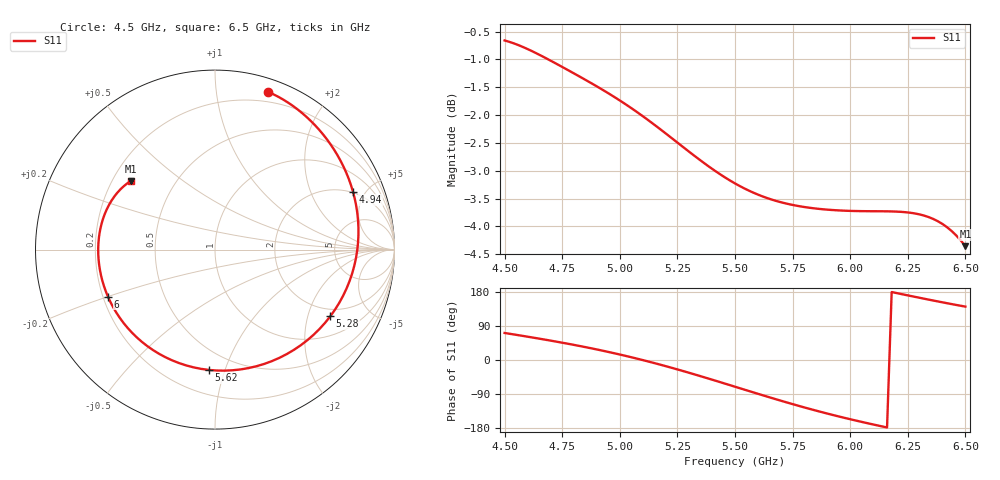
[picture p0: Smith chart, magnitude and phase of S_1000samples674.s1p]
! TOUCHSTONE file generated by CST MICROWAVE STUDIO
! Date and time: Fri Oct 28 23:53:44 2022
! Project name: L.cst
! Parameters = {Di=1.27; Epsilon_r=1.56; InnerDiameter=1.27; Length=2; Lf=10; Lg=60; OuterConductorThickness=0.2921; OuterDiameter=3.6; Wf=3; Wp=41.2; de=1.5; df=6.8; g=0.8; gx=2.32407; gy=1.18306; h=2.34; hf=1.524; px=10.0039; py=10.2288; w=9.7; wx=7.67981; wy=9.0457}
! Header version: 2018
! Port assignment regex: !\s*Touchstone port\s*([0-9]+)\s*=\s*(CST MWS port|CST DS port)\s*([0-9]+|Zmin|Zmax)\s*\(\"(.*)\"\)(\s*mode\s*([0-9]+))?.*
! Touchstone port assignment:
! Touchstone port 1 = CST MWS port 1 ("")
# GHz S DB R 50
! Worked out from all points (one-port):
!   101 points, 4.5 GHz to 6.5 GHz, reference 50 ohm
!   lowest |S11| = -4.4 dB at 6.5 GHz (marker M1), VSWR 4.07, Z = 13.7 + j16.6 ohm
!   |S11| at or under -10 dB: nowhere
!   S11 on the Smith chart (normalised r, x): 4.5 GHz: 0.11, +1.39; 4.94 GHz: 1.95, +4.11; 5.28 GHz: 1.69, -2.79; 5.62 GHz: 0.36, -0.88; 6 GHz: 0.22, -0.20; 6.5 GHz: 0.27, +0.33
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4.5  -0.66 71.3
4.62  -0.85 59.4
4.76  -1.16 44.5
4.86  -1.39 32.8
4.94  -1.58 22.7
5  -1.74 14.5
5.08  -1.96 2.8
5.14  -2.14 -6.6
5.2  -2.33 -16.4
5.26  -2.53 -26.6
5.28  -2.59 -30.1
5.34  -2.78 -40.8
5.4  -2.96 -51.8
5.46  -3.13 -63.0
5.5  -3.23 -70.5
5.56  -3.36 -81.8
5.62  -3.46 -93.0
5.68  -3.54 -104.0
5.76  -3.62 -118.1
5.82  -3.66 -128.3
5.88  -3.69 -138.1
5.94  -3.71 -147.4
6  -3.72 -156.3
6.12  -3.73 -172.8
6.18  -3.73 179.4
6.26  -3.75 169.3
6.38  -3.91 154.6
6.5  -4.36 140.9
